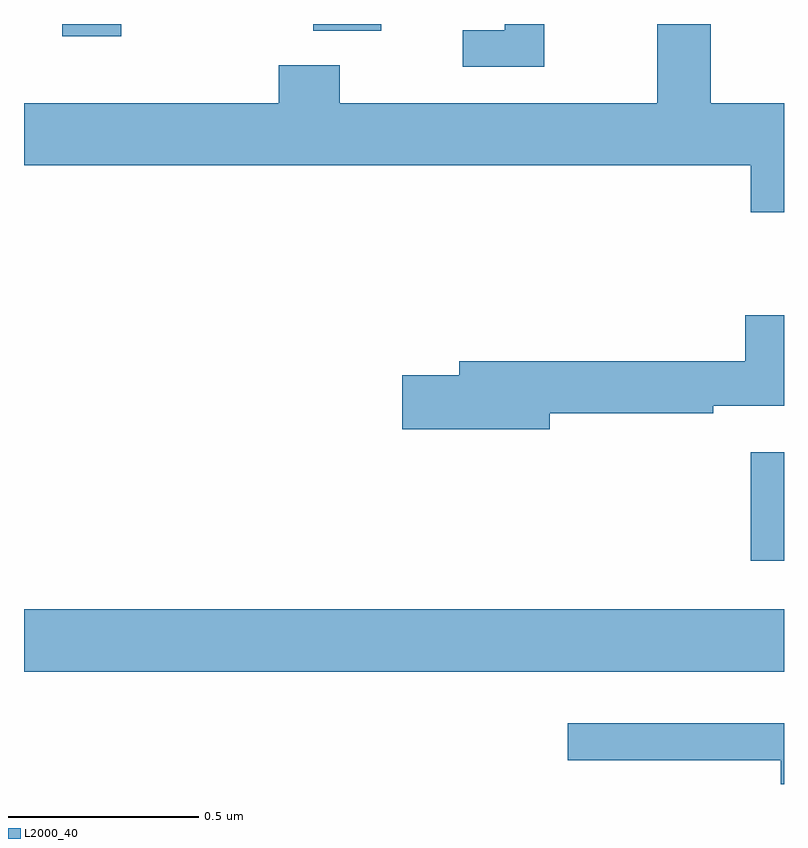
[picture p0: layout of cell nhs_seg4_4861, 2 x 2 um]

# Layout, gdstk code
import gdstk
lib = gdstk.Library(unit=1e-6, precision=1e-09)
def R(c, l, rs):  # rectangles x0, y0, x1, y1
    for r in rs: c.add(gdstk.rectangle(r[:2], r[2:], *l))
def P(c, l, *ps):  # polygons
    for p in ps: c.add(gdstk.Polygon(p, *l))
L2000_40 = (2000, 40)

nhs_seg4_4861 = lib.new_cell('nhs_seg4_4861')
R(nhs_seg4_4861, L2000_40, [(171,754.196,173,754.36), (172.913,754.488,173,754.773), (171.101,755.868,171.256,755.9), (171.761,755.882,171.94,755.9)])
P(nhs_seg4_4861, L2000_40, [(173,755.692),(172.807,755.692),(172.807,755.9),(172.667,755.9),(172.667,755.692),(171.831,755.692),(171.831,755.791),(171.671,755.791),(171.671,755.692),(171,755.692),(171,755.528),(172.913,755.528),(172.913,755.404),(173,755.404)],
  [(172.369,755.9),(172.265,755.9),(172.265,755.883),(172.155,755.883),(172.155,755.787),(172.369,755.787)],
  [(172.384,754.876),(172.814,754.876),(172.814,754.896),(173,754.896),(173,755.134),(172.898,755.134),(172.898,755.012),(172.145,755.012),(172.145,754.976),(171.996,754.976),(171.996,754.834),(172.384,754.834)],
  [(173,754.06),(172.431,754.06),(172.431,753.963),(172.991,753.963),(172.991,753.9),(173,753.9)])

lib.write_gds('nhs_seg4_4861.gds')
